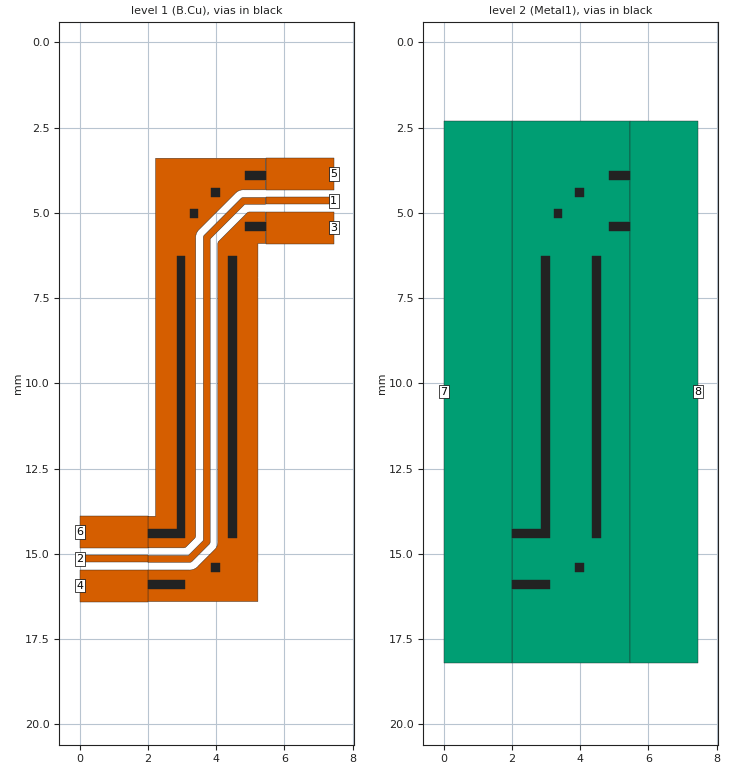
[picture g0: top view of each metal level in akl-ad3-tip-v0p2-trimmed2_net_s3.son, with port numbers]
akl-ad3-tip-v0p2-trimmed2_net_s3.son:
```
FTYP SONPROJ 19 ! Sonnet Project File
VER 18.01
HEADER
LIC antikernel2.1.51012 90e2ba8817c1 havequick azonenberg Level3Gold
DAT 09/25/2021 06:20:16
BUILT_BY_CREATED dxf 18.01 09/25/2021 05:46:11
BUILT_BY_SAVED sonnet 18.01
MDATE 09/25/2021 06:20:16
HDATE 09/25/2021 06:20:16
ANN Created by dxfgeo, Sonnet Software Inc.
END HEADER
DIM
ANG DEG
CAP PF
CON /OH
FREQ GHZ
IND NH
LNG MM
RES OH
END DIM
CONTROL
ABS
OPTIONS  -dj
SPEED 1
CACHE_ABS 2
Q_ACC N
END CONTROL
GEO
DRP1 LEFT LINK
POLY 1940 1
0
DRP1 RIGHT LINK
POLY 1945 1
0
TMET "Free Space" 0 FREESPACE 376.7303136 0 0 0
BMET "Free Space" 0 FREESPACE 376.7303136 0 0 0
MET "Copper 1oz thick" 1 TMM 58000000 0.5 0.035 2
MET "Unknown_metal" 1 VOL INF 0
BOX 3 7.45 20 596 1600 20 0
      5 1 1 0 0 0 0 "Air"
      0.035 4.3 1 0.02 0 0 0 "Soldermask"
      0.1016 3.2 1 0.002 0 0 0 "Panasonic R-F775"
      1 1 1 0 0 0 0 "Air"
TECHLAY METAL B.Cu L1D0 -1 -65534 
1 0 0 T 296 1 1 100 100 0 0 0 Y
END
END
TECHLAY VIA Via1 L2D0 -2 -65534 
VIA POLYGON
1 0 -1 N 1908 1 1 100 100 0 0 0 Y
TOLEVEL 2 RING NOCOVERS
END
END
TECHLAY METAL Metal1 <UNSPECIFIED> -3 0 
2 0 -1 N 1784 1 1 100 100 0 0 0 Y
END
END
LORGN 0 160 U 
POR1 STD
POLY 1936 1
1
2 50 0 0 0 0 15.15 
POR1 STD
POLY 1938 1
1
4 50 0 0 0 0 15.938 
POR1 STD
POLY 1939 1
1
6 50 0 0 0 0 14.363 
POR1 STD
POLY 1941 1
1
1 50 0 0 0 7.45 4.65 
POR1 STD
POLY 1943 1
1
3 50 0 0 0 7.45 5.4375 
POR1 STD
POLY 1944 1
1
5 50 0 0 0 7.45 3.863 
POR1 STD
POLY 1940 1
1
7 50 0 0 0 0 10.25 
POR1 STD
POLY 1945 1
1
8 50 0 0 0 7.45 10.25 
NUM 20
1 41 0 T 1916 1 1 100 100 0 0 0 Y
TLAYNAM B.Cu INH
3.184 15.05
3.625 14.609
3.625 5.72
3.626 5.71
3.628 5.701
3.631 5.691
3.634 5.682
3.639 5.674
3.645 5.665
3.651 5.658
4.733 4.576
4.74 4.57
4.749 4.564
4.757 4.559
4.766 4.556
4.776 4.553
4.785 4.551
4.795 4.55
5.45 4.55
5.45 4.75
4.841 4.75
3.825 5.766
3.825 14.655
3.824 14.665
3.822 14.674
3.819 14.684
3.816 14.693
3.811 14.701
3.805 14.71
3.799 14.717
3.292 15.224
3.285 15.23
3.276 15.236
3.268 15.241
3.259 15.244
3.249 15.247
3.24 15.249
3.23 15.25
2 15.25
2 15.05
3.184 15.05
END
1 60 0 T 1919 1 1 100 100 0 0 0 Y
TLAYNAM B.Cu INH
4.081 16.401
4.0865 16.4
5.225 16.4
5.225 15.275
5.2224 15.275
5.224 15.267
5.226 15.256
5.226 6.912
5.224 6.902
5.224 6.899
5.225 6.889
5.225 6.888
5.226 6.876
5.226 5.9
5.45 5.9
5.45 4.975
4.974 4.975
4.965 4.976
4.954 4.978
4.944 4.981
4.934 4.985
4.929 4.988
4.923 4.991
4.917 4.996
4.915 4.997
4.906 5.004
4.08 5.83
4.066 5.848
4.061 5.858
4.057 5.868
4.054 5.879
4.052 5.889
4.052 5.891
4.05 5.901
4.05 14.637
4.052 14.646
4.052 14.651
4.051 14.655
4.05 14.665
4.044 14.716
4.027 14.776
3.997 14.832
3.956 14.881
3.953 14.884
3.95 14.886
3.944 14.891
3.466 15.369
3.457 15.381
3.456 15.382
3.408 15.421
3.347 15.453
3.286 15.471
3.248 15.475
3.238 15.475
3.229 15.477
3.222 15.477
3.21 15.475
2 15.475
2 16.401
4.081 16.401
END
1 55 0 T 1922 1 1 100 100 0 0 0 Y
TLAYNAM B.Cu INH
3.05 14.826
3.072 14.822
3.082 14.819
3.092 14.815
3.102 14.81
3.12 14.796
3.371 14.545
3.385 14.527
3.39 14.517
3.394 14.507
3.397 14.496
3.399 14.486
3.401 14.475
3.4 14.463
3.401 5.74
3.399 5.729
3.399 5.727
3.406 5.658
3.423 5.599
3.454 5.543
3.481 5.509
3.484 5.506
3.49 5.498
3.494 5.494
3.494 5.493
3.495 5.492
3.497 5.491
3.5 5.489
3.506 5.484
4.559 4.431
4.564 4.424
4.565 4.423
4.598 4.396
4.605 4.389
4.617 4.379
4.678 4.347
4.733 4.331
4.773 4.326
4.785 4.326
4.796 4.324
4.797 4.324
4.815 4.326
5.45 4.326
5.45 3.4
2.225 3.4
2.225 5.294
2.225 13.638
2.227 13.653
2.227 13.654
2.225 13.662
2.225 13.899
2.223 13.9
2 13.9
2 14.826
3.05 14.826
END
VIA POLYGON
1 5 -1 N 1928 1 1 100 100 0 0 0 Y
TOLEVEL 2 RING NOCOVERS
TLAYNAM Via1 INH
4.85 5.525
4.85 5.275
5.45 5.275
5.45 5.525
4.85 5.525
END
VIA POLYGON
1 5 -1 N 1929 1 1 100 100 0 0 0 Y
TOLEVEL 2 RING NOCOVERS
TLAYNAM Via1 INH
4.85 4.025
4.85 3.775
5.45 3.775
5.45 4.025
4.85 4.025
END
VIA POLYGON
1 5 -1 N 1930 1 1 100 100 0 0 0 Y
TOLEVEL 2 RING NOCOVERS
TLAYNAM Via1 INH
4.35 14.525
4.35 6.275
4.6 6.275
4.6 14.525
4.35 14.525
END
VIA POLYGON
1 5 -1 N 1931 1 1 100 100 0 0 0 Y
TOLEVEL 2 RING NOCOVERS
TLAYNAM Via1 INH
3.1 15.775
3.1 16.025
2 16.025
2 15.775
3.1 15.775
END
VIA POLYGON
1 5 -1 N 1932 1 1 100 100 0 0 0 Y
TOLEVEL 2 RING NOCOVERS
TLAYNAM Via1 INH
3.85 15.525
3.85 15.275
4.1 15.275
4.1 15.525
3.85 15.525
END
VIA POLYGON
1 5 -1 N 1933 1 1 100 100 0 0 0 Y
TOLEVEL 2 RING NOCOVERS
TLAYNAM Via1 INH
3.225 5.15
3.225 4.9
3.475 4.9
3.475 5.15
3.225 5.15
END
VIA POLYGON
1 5 -1 N 1934 1 1 100 100 0 0 0 Y
TOLEVEL 2 RING NOCOVERS
TLAYNAM Via1 INH
3.85 4.525
3.85 4.275
4.1 4.275
4.1 4.525
3.85 4.525
END
VIA POLYGON
1 8 -1 N 1935 1 1 100 100 0 0 0 Y
TOLEVEL 2 RING NOCOVERS
TLAYNAM Via1 INH
3.1 14.275
3.1 6.275
2.85 6.275
2.85 14.275
2 14.275
2 14.525
3.1 14.525
3.1 14.275
END
1 5 -1 T 1936 1 1 100 100 0 0 0 Y
2 15.25
0 15.25
0 15.05
2 15.05
2 15.25
END
1 5 -1 N 1938 1 1 100 100 0 0 0 Y
2 15.475
0 15.475
0 16.401
2 16.401
2 15.475
END
1 5 -1 N 1939 1 1 100 100 0 0 0 Y
2 13.9
0 13.9
0 14.826
2 14.826
2 13.9
END
1 5 -1 T 1941 1 1 100 100 0 0 0 Y
5.45 4.55
7.45 4.55
7.45 4.75
5.45 4.75
5.45 4.55
END
1 5 -1 N 1943 1 1 100 100 0 0 0 Y
5.45 5.9
7.45 5.9
7.45 4.975
5.45 4.975
5.45 5.9
END
1 5 -1 N 1944 1 1 100 100 0 0 0 Y
5.45 4.326
7.45 4.326
7.45 3.4
5.45 3.4
5.45 4.326
END
2 5 -1 N 1925 1 1 100 100 0 0 0 Y
TLAYNAM Metal1 INH
2 18.2
2 2.3
5.45 2.3
5.45 18.2
2 18.2
END
2 5 -1 N 1940 1 1 100 100 0 0 0 Y
2 18.2
0 18.2
0 2.3
2 2.3
2 18.2
END
2 5 -1 N 1945 1 1 100 100 0 0 0 Y
5.45 2.3
7.45 2.3
7.45 18.2
5.45 18.2
5.45 2.3
END
END GEO
VARSWP
ENABLED Y
FREQ Y AY ABS_ENTRY 0.1 20.0 -1 300 
END
END VARSWP
```
